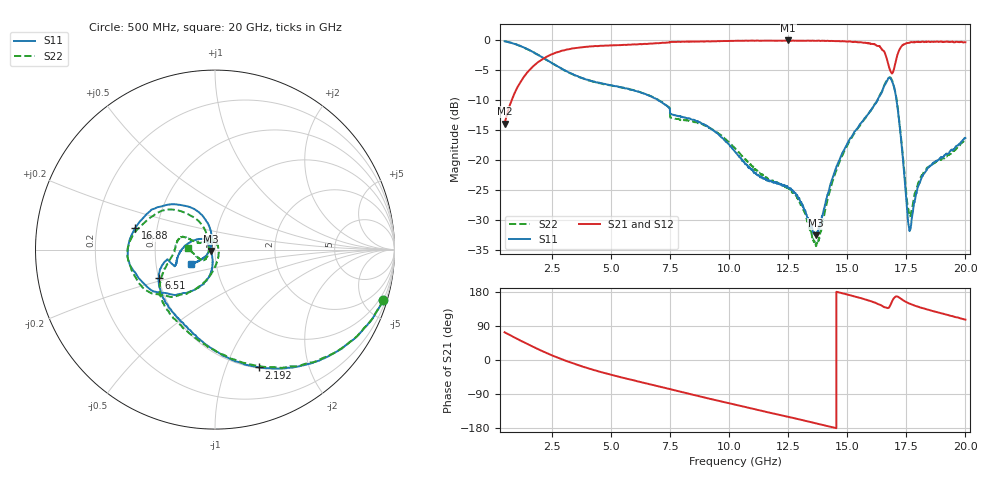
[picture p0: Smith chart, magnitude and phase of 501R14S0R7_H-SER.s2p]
!{501R14S0R7}
!Johanson Technology Inc.
!www.johansontechnology.com
!Test Board Conditions:
!Substrate Type  RO4350B
!Substrate Thickness  20 mil
!Substrate Dk  3.66
!TL Type: GCPW
!TL Trace Width  36 mil
!TL Gap  12 mil
!Electrode orientation  Horizontal
!DUT TOPOLOGY	SERIES
!Mounting Pad LxW  26x36 mil
! Created Mon Mar 16 16:44:52 2020
# mhz S ma R 50
! 2 Port Network Data from SP1.SP block
! freq  magS11  angS11  magS21  angS21  magS12  angS12  magS22  angS22
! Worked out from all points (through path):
!   19501 points, 500 MHz to 20 GHz, reference 50 ohm
!   highest |S21| = -0.07 dB at 12.5 GHz (marker M1); lowest = -13.9 dB at 500 MHz (marker M2)
!   lowest |S11| = -32.5 dB at 13.67 GHz (marker M3), VSWR 1.05, Z = 47.8 - j0.787 ohm
!   |S11| at or under -10 dB: 6.986 GHz to 16.28 GHz (9.297 GHz wide, 79.9 % of centre); 17.08 GHz to end of sweep
!   |S22| runs from -34.3 to -0.2 dB; largest |S21 - S12| = 0.016
!   S11 on the Smith chart (normalised r, x): 500 MHz: 0.52, -6.80; 2.192 GHz: 0.51, -1.31; 6.51 GHz: 0.50, -0.18; 16.88 GHz: 0.37, +0.12; 20 GHz: 0.76, -0.12
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500  0.9784 -16.6  0.2019 73.1  0.2016 73.0  0.9781 -16.7
1339  0.8632 -43.9  0.5006 46.0  0.501 46.0  0.8618 -43.6
2192  0.7012 -69.5  0.7107 20.9  0.7118 20.8  0.699 -68.5
3750  0.4855 -104.1  0.8708 -16.3  0.871 -16.4  0.4839 -108.0
6510  0.3509 -153.3  0.9272 -62.0  0.9283 -61.9  0.3502 -149.6
7000  0.3151 -161.8  0.9417 -69.3  0.9428 -69.4  0.3176 -155.9
8207  0.2241 -162.5  0.9689 -87.7  0.9694 -87.6  0.214 166.8
10250  0.1176 152.0  0.9847 -118.0  0.9847 -118.0  0.1258 158.4
12502  0.05894 133.4  0.9925 -150.1  0.9874 -150.1  0.05842 108.5
13500  0.02774 172.4  0.9875 -164.4  0.9886 -164.5  0.02374 45.1
13671  0.02362 -159.6  0.984 -166.9  0.9893 -167.0  0.01928 10.4
14672  0.1003 -98.6  0.9789 178.0  0.979 177.9  0.0968 -89.8
15825  0.2337 -114.0  0.9451 158.7  0.9425 158.6  0.2324 -114.5
16499  0.3873 -141.6  0.8236 141.5  0.8305 141.6  0.3837 -138.3
16750  0.4832 -171.3  0.6134 137.5  0.6182 137.7  0.4792 -166.4
16882  0.4609 164.7  0.5315 152.7  0.5273 152.5  0.4696 171.9
17042  0.3576 135.4  0.6565 167.1  0.6551 167.3  0.3626 143.0
17233  0.1827 108.5  0.85 163.0  0.8482 163.0  0.1847 120.0
17531  0.03888 119.0  0.9434 151.8  0.9441 151.6  0.04535 137.5
17642  0.02588 162.1  0.9512 148.7  0.955 148.6  0.03406 175.4
18257  0.07727 -143.7  0.9618 135.8  0.9622 135.6  0.08065 -135.2
20000  0.1529 -148.9  0.9594 106.5  0.9594 106.6  0.1503 177.1
